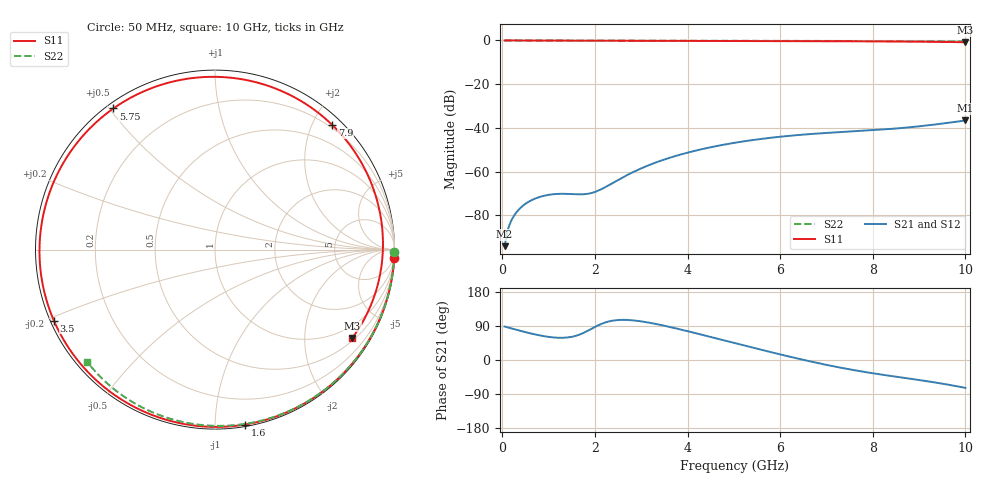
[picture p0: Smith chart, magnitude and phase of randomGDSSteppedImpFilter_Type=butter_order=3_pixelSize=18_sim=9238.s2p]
! freq	dB(S11)	phase(S11)	dB(S12)	phase(S12)
!  dB(S21)	phase(S21)	dB(S22)	phase(S22)
!S-par simulation data
#  GHz  S  DB  R 50
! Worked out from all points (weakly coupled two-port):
!   200 points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, 50 MHz to 10 GHz, reference 50 ohm
!   highest |S21| = -36.63 dB at 10 GHz (marker M1); lowest = -94.1 dB at 50 MHz (marker M2)
!   lowest |S11| = -0.8 dB at 10 GHz (marker M3), VSWR 21.18, Z = 29 - j166 ohm
!   |S11| at or under -10 dB: nowhere
!   |S22| runs from -0.5 to 0.0 dB; largest |S21 - S12| = 0
!   S11 on the Smith chart (normalised r, x): 50 MHz: 0, -43; 1.6 GHz: 0.01, -1.19; 3.5 GHz: 0.01, -0.21; 5.75 GHz: 0.02, +0.51; 7.9 GHz: 0.15, +2.30; 10 GHz: 0.58, -3.31
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0.05  -0.00 -2.7  -94.15 88.3  -94.15 88.3  -0.00 -0.8
0.25  -0.02 -13.2  -80.31 81.6  -80.31 81.6  -0.01 -4.0
0.5  -0.04 -26.3  -74.76 73.5  -74.76 73.5  -0.01 -8.0
0.85  -0.06 -44.2  -71.35 64.0  -71.35 64.0  -0.02 -13.5
1.25  -0.08 -63.8  -70.19 58.6  -70.19 58.6  -0.03 -19.8
1.6  -0.09 -80.2  -70.39 64.2  -70.39 64.2  -0.03 -25.3
1.75  -0.10 -86.9  -70.38 71.3  -70.38 71.3  -0.04 -27.6
2.05  -0.11 -100.0  -68.92 90.3  -68.92 90.3  -0.04 -32.3
2.5  -0.13 -118.5  -63.84 105.5  -63.84 105.5  -0.05 -39.1
2.95  -0.15 -136.0  -59.01 102.8  -59.01 102.8  -0.06 -45.9
3.4  -0.16 -152.6  -55.21 93.0  -55.21 93.0  -0.07 -52.6
3.5  -0.17 -156.2  -54.48 90.4  -54.48 90.4  -0.07 -54.0
4.25  -0.20 177.4  -50.04 68.5  -50.04 68.5  -0.09 -64.9
5.05  -0.24 150.0  -46.72 43.7  -46.72 43.7  -0.12 -76.0
5.75  -0.27 125.7  -44.65 22.2  -44.65 22.2  -0.14 -85.5
6.25  -0.30 108.0  -43.54 7.5  -43.54 7.5  -0.17 -92.1
6.7  -0.33 91.7  -42.76 -5.0  -42.76 -5.0  -0.19 -97.9
7.3  -0.37 69.5  -41.94 -20.1  -41.94 -20.1  -0.23 -105.5
7.9  -0.41 46.8  -41.20 -33.0  -41.20 -33.0  -0.27 -113.0
8.35  -0.46 29.7  -40.55 -41.4  -40.55 -41.4  -0.30 -118.6
9.15  -0.58 -0.8  -38.94 -55.6  -38.94 -55.6  -0.38 -128.3
10  -0.82 -32.7  -36.63 -73.7  -36.63 -73.7  -0.47 -138.6
